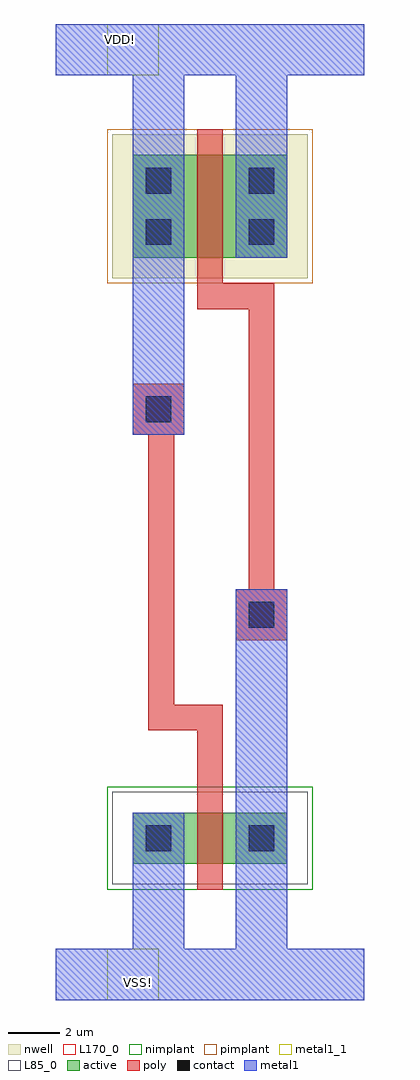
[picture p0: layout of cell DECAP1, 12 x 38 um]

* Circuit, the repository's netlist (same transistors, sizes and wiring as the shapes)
* +++++++++++++++++++++++++++++++++++++++++++++++++++++++++ *
* CDL Netlist:                                              *
*                                                           *
* Cell Name  : DECAP1                                       *
* Netlisted  : Thu Nov 18 06:59:39 2021                     *
* PVS Version: 16.15-s010 Fri Jun 28 22:24:07 PDT 2019      *
* +++++++++++++++++++++++++++++++++++++++++++++++++++++++++ *
*.LDD
*.DEVTMPLT 0 MN(nmos3) _nmos1v _soi_nd(D) poly_conn(G) _soi_nsb(S) _soi_nsb(B)
*.DEVTMPLT 1 MP(pmos3) _pmos1v _soi_pd(D) poly_conn(G) _soi_psb(S) _soi_psb(B)

* +++++++++++++++++++++++++++++++++++++++++++++++++++++++++ *
* Sub cell: nmos3_CDNS_2                                    *
* +++++++++++++++++++++++++++++++++++++++++++++++++++++++++ *
.subckt nmos3_CDNS_2 2 3
** N=3 EP=2 FDC=1
M0 2 3 2 2 nmos3 L=1e-06 W=2e-06 AD=5e-12 AS=0 PD=9e-06 PS=0 fw=2e-06 sa=2e-06 sb=2e-06 $X=7000 $Y=2000 $dt=0
.ends nmos3_CDNS_2

* +++++++++++++++++++++++++++++++++++++++++++++++++++++++++ *
* Sub cell: pmos3_CDNS_3                                    *
* +++++++++++++++++++++++++++++++++++++++++++++++++++++++++ *
.subckt pmos3_CDNS_3 2 3
** N=4 EP=2 FDC=1
M0 2 3 2 2 pmos3 L=1e-06 W=4e-06 AD=1e-11 AS=0 PD=1.3e-05 PS=0 fw=4e-06 sa=2e-06 sb=2e-06 $X=7000 $Y=2000 $dt=1
.ends pmos3_CDNS_3

* +++++++++++++++++++++++++++++++++++++++++++++++++++++++++ *
* Sub cell: DECAP1                                          *
* +++++++++++++++++++++++++++++++++++++++++++++++++++++++++ *
.subckt DECAP1 VDD! VSS!
** N=4 EP=2 FDC=2
X2 VSS! VDD! nmos3_CDNS_2 $T=4000 6600 0 0 $X=4000 $Y=6600
X3 VDD! VSS! pmos3_CDNS_3 $T=20000 65800 0 180 $X=4000 $Y=51800
.ends DECAP1

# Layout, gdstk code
from math import pi, radians
import gdstk
lib = gdstk.Library(unit=1e-6, precision=5e-10)
def R(c, l, rs):  # rectangles x0, y0, x1, y1
    for r in rs: c.add(gdstk.rectangle(r[:2], r[2:], *l))
active = (1, 0)
nwell = (2, 0)
poly = (3, 0)
nimplant = (4, 0)
pimplant = (5, 0)
contact = (6, 0)
metal1 = (7, 0)
metal1_1 = (7, 1)
L85_0 = (85, 0)
L170_0 = (170, 0)

nmos3_cdns_2 = lib.new_cell('nmos3_CDNS_2')
R(nmos3_cdns_2, active, [(1,1,7,3)])
R(nmos3_cdns_2, poly, [(3.5,0,4.5,5), (3.6,3.5,4.4,3.9)])
R(nmos3_cdns_2, nimplant, [(0,0,8,4)])
R(nmos3_cdns_2, contact, [(1.5,1.5,2.5,2.5), (5.5,1.5,6.5,2.5), (5.5,1.5,6.5,2.5)])
R(nmos3_cdns_2, metal1, [(1,1,3,3), (5,1,7,3), (1.3,1.3,2.7,2.7), (5.3,1.3,6.7,2.7)])
R(nmos3_cdns_2, L85_0, [(0.2,0.2,7.8,3.8)])
R(nmos3_cdns_2, L170_0, [(4.5,1,7,3)])

pmos3_cdns_3 = lib.new_cell('pmos3_CDNS_3')
R(pmos3_cdns_3, active, [(1,1,7,5)])
R(pmos3_cdns_3, nwell, [(0.2,0.2,7.8,5.8)])
R(pmos3_cdns_3, poly, [(3.5,0,4.5,7), (3.6,5.6,4.4,5.9)])
R(pmos3_cdns_3, pimplant, [(0,0,8,6)])
R(pmos3_cdns_3, contact, [(1.5,1.5,2.5,2.5), (5.5,1.5,6.5,2.5), (5.5,1.5,6.5,2.5), (1.5,3.5,2.5,4.5), (5.5,3.5,6.5,4.5)])
R(pmos3_cdns_3, metal1, [(1,1,3,5), (5,1,7,5), (1.3,1.3,2.7,2.7), (5.3,1.3,6.7,2.7)])
R(pmos3_cdns_3, L170_0, [(4.5,1,7,5)])

m1_po_cdns_1 = lib.new_cell('M1_PO_CDNS_1')
R(m1_po_cdns_1, poly, [(-1,-1,1,1)])
R(m1_po_cdns_1, contact, [(-0.5,-0.5,0.5,0.5)])
R(m1_po_cdns_1, metal1, [(-1,-1,1,1)])

decap1 = lib.new_cell('DECAP1')
R(decap1, metal1_1, [(2,-1,4,1), (2,35,4,37)])
decap1.add(gdstk.FlexPath([(8,26.4),(5.5,26.4)], 1, ends=(0.5, 0), simple_path=True, layer=3, datatype=0))  # poly
decap1.add(gdstk.FlexPath([(8,14),(8,26.4)], 1, ends=(0, 0.5), simple_path=True, layer=3, datatype=0))  # poly
decap1.add(gdstk.FlexPath([(4.1,10),(4.1,21.9)], 1, ends=(0.5, 0), simple_path=True, layer=3, datatype=0))  # poly
decap1.add(gdstk.FlexPath([(6,10),(4.1,10)], 1, ends="extended", simple_path=True, layer=3, datatype=0))  # poly
decap1.add(gdstk.FlexPath([(6,7.2),(6,10)], 1, ends=(0, 0.5), simple_path=True, layer=3, datatype=0))  # poly
decap1.add(gdstk.FlexPath([(8,4.83),(8,14)], 2, ends="flush", simple_path=True, layer=7, datatype=0))  # metal1
decap1.add(gdstk.FlexPath([(4,0),(8,0)], 2, ends="extended", simple_path=True, layer=7, datatype=0))  # metal1
decap1.add(gdstk.FlexPath([(8,4.6),(8,0)], 2, ends=(0, 1), simple_path=True, layer=7, datatype=0))  # metal1
decap1.add(gdstk.FlexPath([(0,0),(4,0)], 2, ends=(0, 1), simple_path=True, layer=7, datatype=0))  # metal1
decap1.add(gdstk.FlexPath([(4,4.6),(4,0)], 2, ends=(0, 1), simple_path=True, layer=7, datatype=0))  # metal1
decap1.add(gdstk.FlexPath([(4,36),(8,36)], 2, ends="extended", simple_path=True, layer=7, datatype=0))  # metal1
decap1.add(gdstk.FlexPath([(8,30.2),(8,36)], 2, ends=(0, 1), simple_path=True, layer=7, datatype=0))  # metal1
decap1.add(gdstk.FlexPath([(0,36),(4,36)], 2, ends=(0, 1), simple_path=True, layer=7, datatype=0))  # metal1
decap1.add(gdstk.FlexPath([(4,22),(4,36)], 2, ends=(0, 1), simple_path=True, layer=7, datatype=0))  # metal1
decap1.add(gdstk.FlexPath([(8,0),(12,0)], 2, ends=(1, 0), simple_path=True, layer=7, datatype=0))  # metal1
decap1.add(gdstk.FlexPath([(8,36),(12,36)], 2, ends=(1, 0), simple_path=True, layer=7, datatype=0))  # metal1
decap1.add(gdstk.Reference(nmos3_cdns_2, (2,3.3)))
decap1.add(gdstk.Reference(pmos3_cdns_3, (10,32.9), rotation=pi))
decap1.add(gdstk.Reference(m1_po_cdns_1, (8,14)))
decap1.add(gdstk.Reference(m1_po_cdns_1, (4,22)))
decap1.add(gdstk.Label('VSS!', (3.2,-0.3), layer=7, texttype=3))
decap1.add(gdstk.Label('VDD!', (2.5,36.4), layer=7, texttype=3))

lib.write_gds('DECAP1.gds')
